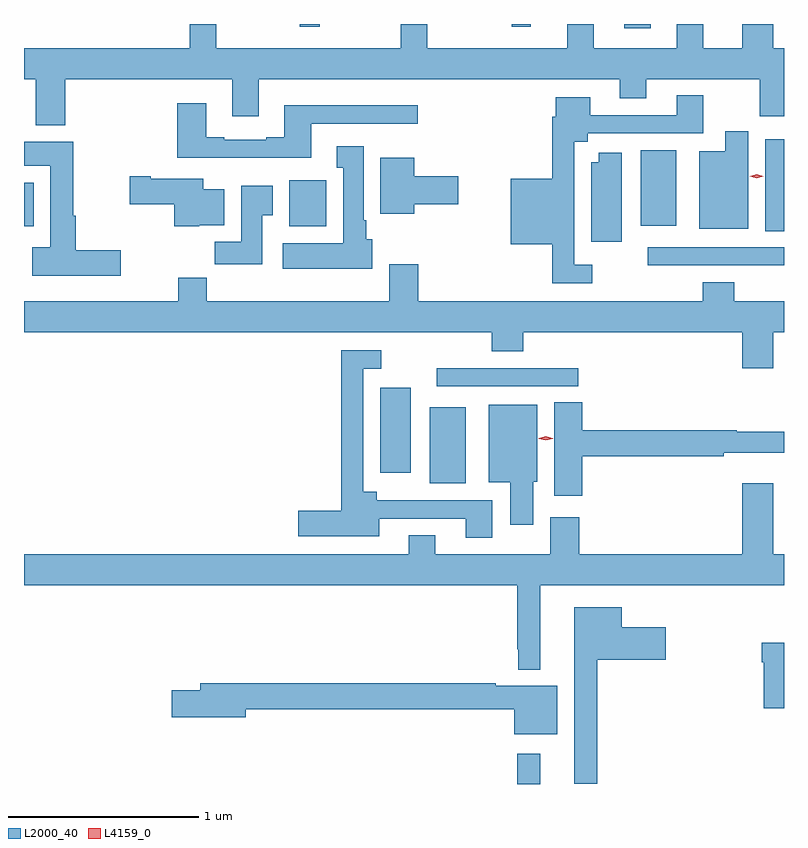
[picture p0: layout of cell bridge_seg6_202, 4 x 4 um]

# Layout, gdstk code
import gdstk
lib = gdstk.Library(unit=1e-6, precision=1e-09)
def R(c, l, rs):  # rectangles x0, y0, x1, y1
    for r in rs: c.add(gdstk.rectangle(r[:2], r[2:], *l))
def P(c, l, *ps):  # polygons
    for p in ps: c.add(gdstk.Polygon(p, *l))
L2000_40 = (2000, 40)
L4159_0 = (4159, 0)

bridge_seg6_202 = lib.new_cell('bridge_seg6_202')
R(bridge_seg6_202, L2000_40, [(139.848,963.607,139.969,963.766), (139.388,965.189,139.576,965.59), (139.127,965.244,139.288,965.692), (139.425,965.7,140.17,965.796), (140.535,966.336,141.252,966.432), (141.152,966.517,141.252,967), (137.252,966.542,137.302,966.772), (138.647,966.542,138.844,966.784), (140.498,966.545,140.686,966.943), (140.411,967.584,140.551,967.607), (138.704,967.592,138.808,967.607), (139.82,967.592,139.919,967.607)])
P(bridge_seg6_202, L2000_40, [(137.468,967.316),(138.347,967.316),(138.347,967.122),(138.487,967.122),(138.487,967.316),(140.387,967.316),(140.387,967.217),(140.527,967.217),(140.527,967.316),(141.124,967.316),(141.124,967.122),(141.252,967.122),(141.252,967.48),(141.196,967.48),(141.196,967.607),(141.032,967.607),(141.032,967.48),(140.827,967.48),(140.827,967.607),(140.687,967.607),(140.687,967.48),(140.251,967.48),(140.251,967.607),(140.111,967.607),(140.111,967.48),(139.374,967.48),(139.374,967.607),(139.235,967.607),(139.235,967.48),(138.264,967.48),(138.264,967.607),(138.125,967.607),(138.125,967.48),(137.252,967.48),(137.252,967.316),(137.315,967.316),(137.315,967.073),(137.468,967.073)],
  [(140.242,966.339),(140.149,966.339),(140.149,966.689),(140.148,966.689),(140.148,966.986),(140.218,966.986),(140.218,967.032),(140.827,967.032),(140.827,967.231),(140.687,967.231),(140.687,967.128),(140.233,967.128),(140.233,967.222),(140.051,967.222),(140.051,967.118),(140.032,967.118),(140.032,966.793),(139.814,966.793),(139.814,966.449),(140.032,966.449),(140.032,966.243),(140.242,966.243)],
  [(138.763,967.083),(139.324,967.083),(139.324,967.18),(138.623,967.18),(138.623,967.012),(138.527,967.012),(138.527,966.999),(138.307,966.999),(138.307,967.012),(138.211,967.012),(138.211,967.189),(138.059,967.189),(138.059,966.902),(138.763,966.902)],
  [(141.064,967.042),(140.942,967.042),(140.942,966.937),(140.807,966.937),(140.807,966.53),(141.064,966.53)],
  [(137.761,966.416),(137.525,966.416),(137.525,966.599),(137.512,966.599),(137.512,966.988),(137.252,966.988),(137.252,966.86),(137.39,966.86),(137.39,966.433),(137.295,966.433),(137.295,966.281),(137.761,966.281)],
  [(139.084,966.474),(139.054,966.474),(139.054,966.574),(139.039,966.574),(139.039,966.964),(138.899,966.964),(138.899,966.851),(138.932,966.851),(138.932,966.454),(138.615,966.454),(138.615,966.32),(139.084,966.32)],
  [(140.398,966.929),(140.276,966.929),(140.276,966.88),(140.237,966.88),(140.237,966.462),(140.398,966.462)],
  [(139.306,966.659),(139.537,966.659),(139.537,966.806),(139.306,966.806),(139.306,966.904),(139.127,966.904),(139.127,966.608),(139.306,966.608)],
  [(138.174,966.548),(138.307,966.548),(138.307,966.736),(138.196,966.736),(138.196,966.793),(137.92,966.793),(137.92,966.806),(137.808,966.806),(137.808,966.659),(138.044,966.659),(138.044,966.542),(138.174,966.542)],
  [(138.505,966.601),(138.562,966.601),(138.562,966.757),(138.395,966.757),(138.395,966.46),(138.256,966.46),(138.256,966.342),(138.505,966.342)],
  [(141.196,965.984),(141.252,965.984),(141.252,966.148),(140.99,966.148),(140.99,966.247),(140.825,966.247),(140.825,966.148),(139.328,966.148),(139.328,966.343),(139.175,966.343),(139.175,966.148),(138.215,966.148),(138.215,966.272),(138.064,966.272),(138.064,966.148),(137.252,966.148),(137.252,965.984),(139.715,965.984),(139.715,965.885),(139.88,965.885),(139.88,965.984),(141.032,965.984),(141.032,965.796),(141.196,965.796)],
  [(139.717,965.1),(139.108,965.1),(139.108,965.146),(139.038,965.146),(139.038,965.793),(139.132,965.793),(139.132,965.889),(138.922,965.889),(138.922,965.045),(138.696,965.045),(138.696,964.91),(139.123,964.91),(139.123,965.004),(139.577,965.004),(139.577,964.902),(139.717,964.902)],
  [(140.189,965.332),(140.936,965.332),(140.936,965.351),(141.252,965.351),(141.252,965.461),(141.002,965.461),(141.002,965.468),(140.189,965.468),(140.189,965.615),(140.042,965.615),(140.042,965.124),(140.189,965.124)],
  [(139.933,965.199),(139.954,965.199),(139.954,965.602),(139.697,965.602),(139.697,965.195),(139.811,965.195),(139.811,964.971),(139.933,964.971)],
  [(139.969,964.652),(141.252,964.652),(141.252,964.816),(141.196,964.816),(141.196,965.191),(141.032,965.191),(141.032,964.816),(140.174,964.816),(140.174,965.011),(140.021,965.011),(140.021,964.816),(139.417,964.816),(139.417,964.915),(139.277,964.915),(139.277,964.816),(137.252,964.816),(137.252,964.652),(139.848,964.652),(139.848,964.315),(139.854,964.315),(139.854,964.208),(139.969,964.208)],
  [(140.269,964.262),(140.629,964.262),(140.629,964.432),(140.398,964.432),(140.398,964.537),(140.147,964.537),(140.147,963.609),(140.269,963.609)],
  [(141.252,964.351),(141.134,964.351),(141.134,964.247),(141.146,964.247),(141.146,964.007),(141.252,964.007)],
  [(140.059,964.123),(139.736,964.123),(139.736,964.136),(138.179,964.136),(138.179,964.1),(138.03,964.1),(138.03,963.958),(138.418,963.958),(138.418,964),(139.832,964),(139.832,963.869),(140.059,963.869)])
P(bridge_seg6_202, L4159_0, [(141.108,966.796),(141.072,966.806),(141.072,966.806),(141.072,966.806),(141.108,966.816),(141.144,966.807),(141.144,966.807),(141.144,966.806)],
  [(139.999,965.416),(139.961,965.425),(139.961,965.426),(139.961,965.426),(139.999,965.436),(140.036,965.426),(140.036,965.426),(140.036,965.425)])

lib.write_gds('bridge_seg6_202.gds')
